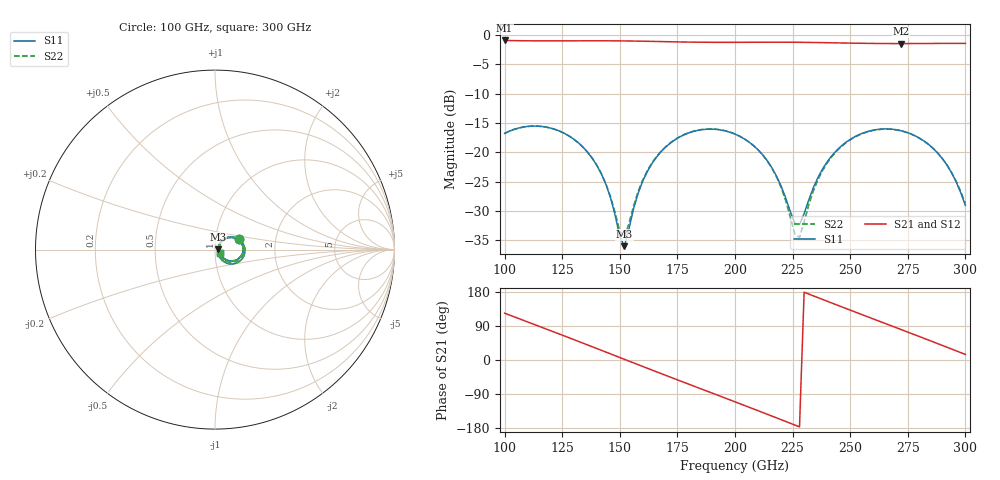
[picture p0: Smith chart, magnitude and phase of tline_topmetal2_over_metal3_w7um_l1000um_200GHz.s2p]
#  GHZ S DB R 50
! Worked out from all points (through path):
!   101 points, 100 GHz to 300 GHz, reference 50 ohm
!   highest |S21| = -0.96 dB at 100 GHz (marker M1); lowest = -1.5 dB at 272 GHz (marker M2)
!   group delay of S21, straight-line fit = 6.52 ps
!   lowest |S11| = -36.0 dB at 152 GHz (marker M3), VSWR 1.03, Z = 51.6 + j0.161 ohm
!   |S11| at or under -10 dB: start of sweep to end of sweep
!   |S22| runs from -34.5 to -15.6 dB; largest |S21 - S12| = 9.9e-14
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100  -16.80 23.3  -0.96 123.6  -0.96 123.6  -16.81 23.6
116  -15.61 -9.6  -1.03 86.5  -1.03 86.5  -15.62 -9.3
134  -19.13 -45.7  -1.02 44.5  -1.02 44.5  -19.13 -44.7
144  -25.51 -58.8  -1.02 20.8  -1.02 20.8  -25.43 -56.2
150  -34.41 -34.2  -1.03 6.6  -1.03 6.6  -33.46 -29.2
152  -36.02 5.7  -1.04 1.8  -1.04 1.8  -34.53 5.1
160  -24.89 52.7  -1.09 -17.1  -1.09 -17.1  -24.69 49.4
168  -19.89 42.2  -1.15 -36.0  -1.15 -36.0  -19.81 40.0
184  -16.27 11.3  -1.26 -73.3  -1.26 -73.3  -16.23 9.5
200  -16.92 -20.5  -1.28 -110.4  -1.28 -110.4  -16.90 -22.7
216  -22.64 -45.8  -1.26 -148.0  -1.26 -148.0  -22.71 -50.2
220  -25.76 -46.0  -1.26 -157.4  -1.26 -157.4  -25.99 -52.2
226  -32.14 -14.1  -1.27 -171.7  -1.27 -171.7  -33.99 -21.3
228  -32.33 12.3  -1.28 -176.4  -1.28 -176.4  -34.54 13.4
234  -26.06 47.8  -1.30 169.3  -1.30 169.3  -26.59 52.9
240  -21.64 46.5  -1.34 155.1  -1.34 155.1  -21.85 49.6
248  -18.36 34.6  -1.40 136.3  -1.40 136.3  -18.45 36.6
258  -16.42 16.0  -1.46 113.1  -1.46 113.1  -16.48 17.4
268  -16.08 -3.6  -1.49 89.9  -1.49 89.9  -16.11 -2.3
272  -16.33 -11.4  -1.49 80.6  -1.49 80.6  -16.36 -10.2
288  -20.16 -39.9  -1.47 43.1  -1.47 43.1  -20.15 -38.4
300  -29.09 -37.1  -1.46 14.7  -1.46 14.7  -28.77 -34.1
